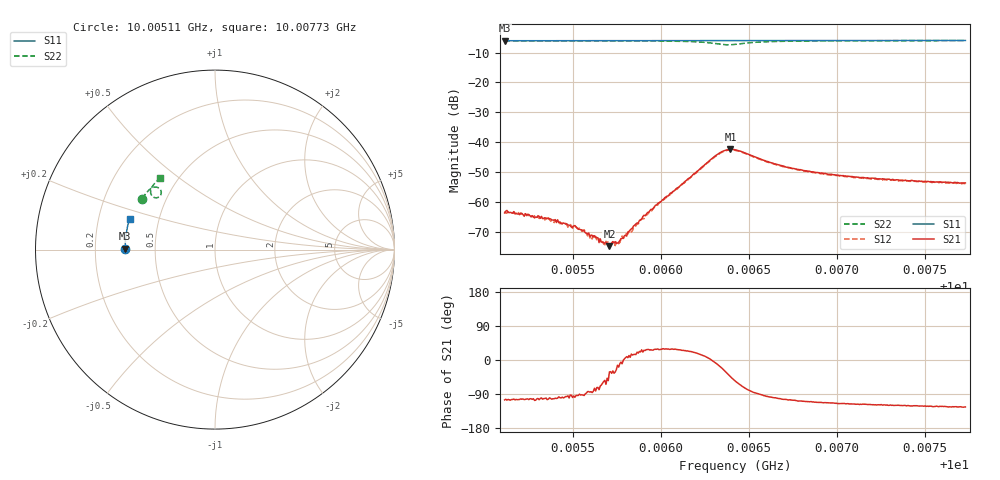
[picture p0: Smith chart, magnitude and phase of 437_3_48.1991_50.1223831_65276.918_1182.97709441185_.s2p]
#  HZ  S  RI  R  50.00
! Rohde & Schwarz Vector Network Analyzer
! Rohde-Schwarz,ZNB20-2Port,1311601062101988,3.16
! Created: UTC 3/20/2024, 11:55:41 AM
! freq[Hz]  re:S11  im:S11  re:S21  im:S21  re:S12  im:S12  re:S22  im:S22
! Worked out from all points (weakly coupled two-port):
!   401 points, 10.00511 GHz to 10.00773 GHz, reference 50 ohm
!   highest |S21| = -42.40 dB at 10.00639 GHz (marker M1); lowest = -74.8 dB at 10.00571 GHz (marker M2)
!   lowest |S11| = -6.0 dB at 10.00511 GHz (marker M3), VSWR 3.00, Z = 16.7 + j0.198 ohm
!   |S11| at or under -10 dB: nowhere
!   |S22| runs from -7.4 to -6.0 dB; largest |S21 - S12| = 0.00049
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1.000511e10  -0.5001 0.00445  -0.000172 -0.000632  -0.000145 -0.000675  -0.4055 0.284
1.0005215e10  -0.5004 0.0114  -0.000135 -0.000598  -0.00012 -0.000603  -0.4015 0.2901
1.0005359e10  -0.5001 0.0207  -0.000119 -0.000507  -8.99e-05 -0.000537  -0.3957 0.2986
1.0005516e10  -0.5 0.031  -2.51e-05 -0.000383  -1.77e-05 -0.000379  -0.3889 0.308
1.0005549e10  -0.4999 0.0329  -9.98e-06 -0.00034  3.21e-05 -0.000321  -0.3874 0.31
1.0005595e10  -0.5 0.036  2.48e-05 -0.000267  3.39e-05 -0.000246  -0.3852 0.3128
1.0005615e10  -0.4998 0.0373  3.29e-05 -0.000257  5.69e-05 -0.000267  -0.3843 0.3138
1.0005667e10  -0.4996 0.0407  0.0001 -0.000184  9.1e-05 -0.000197  -0.3815 0.3172
1.0005706e10  -0.4995 0.0433  0.000155 -9.51e-05  0.000158 -0.000116  -0.3795 0.3196
1.0005752e10  -0.4994 0.0462  0.000199 -4.89e-05  0.000204 -7.38e-05  -0.3772 0.3223
1.0005792e10  -0.4991 0.0488  0.000272 1.51e-05  0.000252 4.04e-05  -0.3749 0.3251
1.0005824e10  -0.499 0.0509  0.000336 4.22e-05  0.000325 6.34e-05  -0.3727 0.327
1.000591e10  -0.4986 0.0563  0.000533 0.000251  0.000523 0.000268  -0.3669 0.3327
1.0005988e10  -0.498 0.0614  0.000862 0.000445  0.000809 0.000501  -0.3604 0.3378
1.0006309e10  -0.4952 0.082  0.00589 -0.000734  0.00576 -0.000431  -0.3023 0.331
1.0006355e10  -0.4946 0.0849  0.00644 -0.00307  0.00643 -0.00273  -0.3004 0.3097
1.0006395e10  -0.4944 0.0872  0.00548 -0.00525  0.00566 -0.00483  -0.3123 0.2934
1.0006421e10  -0.4943 0.0886  0.00426 -0.00611  0.0045 -0.00578  -0.3243 0.2888
1.0006657e10  -0.4924 0.1038  -0.000775 -0.0042  -0.000587 -0.00415  -0.3581 0.3297
1.000686e10  -0.49 0.1167  -0.00113 -0.00298  -0.000974 -0.00296  -0.3494 0.351
1.0007299e10  -0.4835 0.1444  -0.00118 -0.00209  -0.00103 -0.00208  -0.327 0.379
1.0007732e10  -0.4755 0.1712  -0.00116 -0.00173  -0.00106 -0.00174  -0.3049 0.3998
